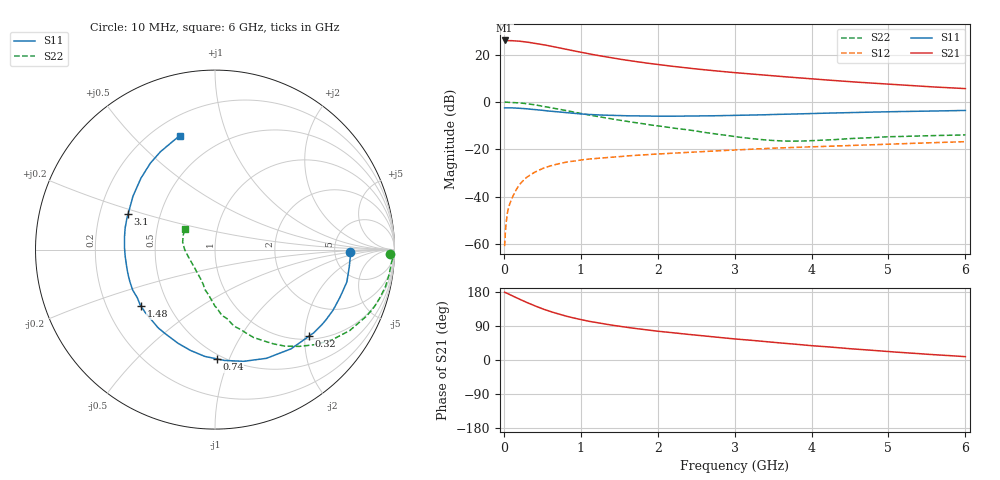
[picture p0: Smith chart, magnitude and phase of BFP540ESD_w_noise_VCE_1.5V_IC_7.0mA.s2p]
! Infineon Technologies  Discrete & RF Semiconductors
! BFP540ESD
! VCE =  1.5 V,  IC =  7.0 mA
! Common Emitter S-Parameters:  Nov 2015
# GHz  S  MA  R  50
!  f  S11  S21  S12  S22
! GHz  MAG  ANG  MAG  ANG  MAG  ANG  MAG  ANG
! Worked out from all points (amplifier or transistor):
!   210 points, 10 MHz to 6 GHz, reference 50 ohm
!   highest |S21| = 26.0 dB at 10 MHz (marker M1)
!   |S21| within 3 dB of that: start of sweep to 703.2 MHz
!   unconditionally stable (mu >= 1): 3.011 GHz to end of sweep
!   at 185 MHz: K = 0.07, MSG = 30.8 dB, |S12| = -35.8 dB
!   at 1.52 GHz: K = 0.61, MSG = 20.5 dB, |S12| = -23.0 dB
!   at 6 GHz: K = 1.18, MAG = 8.6 dB, |S12| = -16.8 dB
!   lowest NFmin = 0.76 dB at 900 MHz
!   S11 on the Smith chart (normalised r, x): 10 MHz: 7.04, -0.51; 320 MHz: 1.07, -2.10; 740 MHz: 0.47, -0.90; 1.48 GHz: 0.35, -0.30; 3.1 GHz: 0.32, +0.18; 6 GHz: 0.30, +0.69
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0.01  0.7524 -1.2  20 178.8  0.0009 100.1  0.9767 -1.4
0.025  0.7546 -3.7  19.89 177.7  0.0023 80.4  0.9962 -2.1
0.05  0.7546 -6.9  19.9 175.1  0.0049 80.9  0.9863 -4.0
0.15  0.7459 -20.5  19.64 165.6  0.0129 82.1  0.9721 -12.2
0.24  0.7317 -32.4  19.01 157.1  0.021 75.8  0.9449 -19.3
0.32  0.7122 -42.6  18.29 150.1  0.0272 72.2  0.9111 -25.2
0.4  0.6967 -52.5  17.51 143.1  0.0328 67.4  0.8757 -31.0
0.5  0.6701 -64.7  16.48 135.1  0.0391 62.7  0.8224 -37.8
0.6  0.6426 -75.6  15.26 128.0  0.0445 58.4  0.7679 -43.6
0.74  0.6085 -89.2  13.75 119.8  0.0508 53.7  0.6942 -50.9
0.8  0.5977 -95.5  13.12 116.1  0.0533 51.7  0.6639 -54.1
0.9  0.5781 -103.7  12.15 111.1  0.0563 49.0  0.6178 -58.2
1.02  0.5573 -113.1  11.12 105.8  0.0601 46.7  0.5662 -62.9
1.2  0.5388 -126.0  9.78 98.7  0.0643 43.0  0.5009 -69.1
1.48  0.5191 -142.5  8.191 89.7  0.0697 39.8  0.4195 -77.6
1.7  0.511 -153.8  7.237 83.4  0.0744 37.6  0.3694 -83.9
2.02  0.5021 -167.4  6.159 75.6  0.0798 35.6  0.3115 -90.4
2.58  0.5084 172.7  4.848 63.8  0.0895 32.5  0.2317 -103.5
3.1  0.5236 157.5  4.053 54.0  0.0985 30.1  0.1777 -118.0
4.1  0.5774 134.2  3.006 36.4  0.1145 24.2  0.1546 -166.0
5.1  0.6271 117.9  2.329 20.8  0.1304 18.3  0.1861 164.8
6  0.6642 107.3  1.923 8.8  0.1453 13.5  0.2022 145.1
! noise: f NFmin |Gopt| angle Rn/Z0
0.9  0.76  0.01  -71  0.11
1.8  0.97  0.09  177  0.11
2.4  0.98  0.11  174  0.1
3  1.11  0.19  -171  0.09
4  1.26  0.31  -120  0.15
5  1.48  0.43  -96  0.28
6  1.73  0.52  -98  0.43
